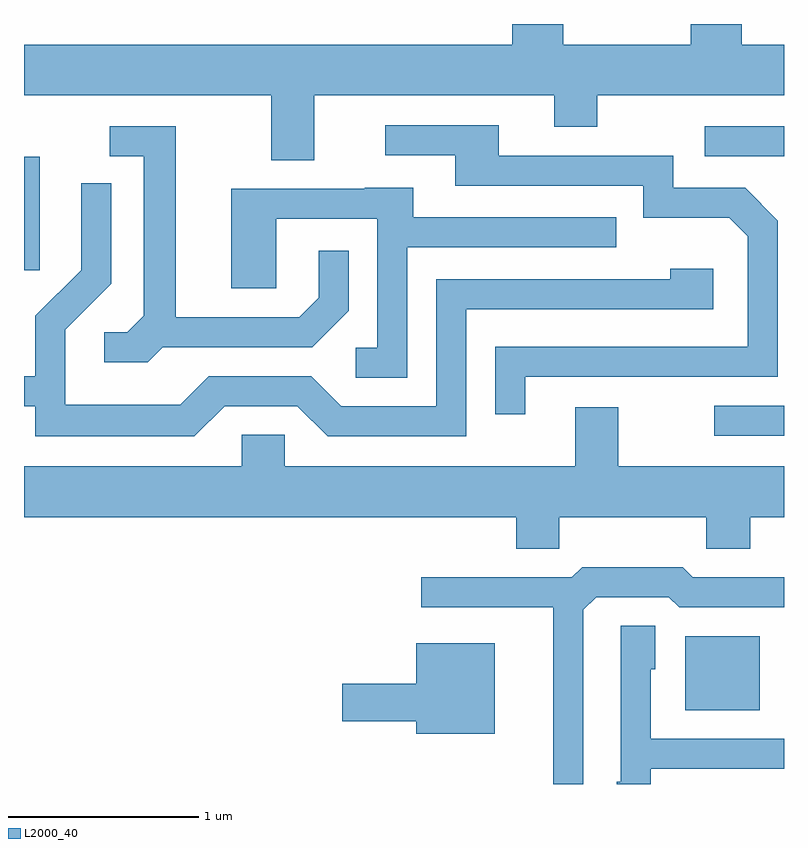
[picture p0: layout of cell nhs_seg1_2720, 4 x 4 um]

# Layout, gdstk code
import gdstk
lib = gdstk.Library(unit=1e-6, precision=1e-09)
def R(c, l, rs):  # rectangles x0, y0, x1, y1
    for r in rs: c.add(gdstk.rectangle(r[:2], r[2:], *l))
def P(c, l, *ps):  # polygons
    for p in ps: c.add(gdstk.Polygon(p, *l))
L2000_40 = (2000, 40)

nhs_seg1_2720 = lib.new_cell('nhs_seg1_2720')
R(nhs_seg1_2720, L2000_40, [(271.091,914.101,271.484,914.489), (271.243,915.546,271.611,915.704), (267.611,916.416,267.694,917.014), (271.193,917.016,271.611,917.174)])
P(nhs_seg1_2720, L2000_40, [(269.139,917.336),(270.401,917.336),(270.401,917.171),(270.629,917.171),(270.629,917.336),(271.611,917.336),(271.611,917.604),(271.389,917.604),(271.389,917.712),(271.121,917.712),(271.121,917.604),(270.449,917.604),(270.449,917.712),(270.181,917.712),(270.181,917.604),(267.611,917.604),(267.611,917.336),(268.911,917.336),(268.911,916.996),(269.139,916.996)],
  [(270.249,915.856),(271.579,915.856),(271.579,916.677),(271.407,916.849),(271.029,916.849),(271.029,917.019),(270.109,917.019),(270.109,917.179),(269.513,917.179),(269.513,917.021),(269.881,917.021),(269.881,916.861),(270.871,916.861),(270.871,916.691),(271.324,916.691),(271.421,916.594),(271.421,916.014),(270.091,916.014),(270.091,915.658),(270.249,915.658)],
  [(268.342,916.011),(269.127,916.011),(269.319,916.204),(269.319,916.518),(269.161,916.518),(269.161,916.272),(269.059,916.169),(268.409,916.169),(268.409,917.174),(268.063,917.174),(268.063,917.016),(268.241,917.016),(268.241,916.177),(268.154,916.089),(268.033,916.089),(268.033,915.931),(268.262,915.931)],
  [(268.667,915.701),(269.049,915.701),(269.209,915.541),(269.939,915.541),(269.939,916.211),(271.239,916.211),(271.239,916.424),(271.011,916.424),(271.011,916.369),(269.781,916.369),(269.781,915.699),(269.282,915.699),(269.122,915.859),(268.584,915.859),(268.434,915.709),(267.829,915.709),(267.829,916.104),(268.069,916.344),(268.069,916.873),(267.911,916.873),(267.911,916.417),(267.671,916.177),(267.671,915.859),(267.611,915.859),(267.611,915.701),(267.671,915.701),(267.671,915.541),(268.507,915.541)],
  [(269.629,916.536),(270.728,916.536),(270.728,916.694),(269.659,916.694),(269.659,916.849),(269.405,916.849),(269.405,916.844),(268.701,916.844),(268.701,916.321),(268.939,916.321),(268.939,916.686),(269.471,916.686),(269.471,916.009),(269.358,916.009),(269.358,915.851),(269.629,915.851)],
  [(270.429,915.116),(271.201,915.116),(271.201,914.951),(271.434,914.951),(271.434,915.116),(271.611,915.116),(271.611,915.384),(270.739,915.384),(270.739,915.694),(270.511,915.694),(270.511,915.384),(268.984,915.384),(268.984,915.549),(268.756,915.549),(268.756,915.384),(267.611,915.384),(267.611,915.116),(270.201,915.116),(270.201,914.951),(270.429,914.951)],
  [(270.554,914.629),(270.622,914.696),(271.004,914.696),(271.059,914.641),(271.611,914.641),(271.611,914.799),(271.132,914.799),(271.077,914.854),(270.549,914.854),(270.494,914.799),(269.703,914.799),(269.703,914.641),(270.396,914.641),(270.396,913.712),(270.554,913.712)],
  [(270.909,913.791),(271.611,913.791),(271.611,913.949),(270.909,913.949),(270.909,914.316),(270.934,914.316),(270.934,914.544),(270.751,914.544),(270.751,913.724),(270.731,913.724),(270.731,913.712),(270.909,913.712)],
  [(270.089,914.454),(269.676,914.454),(269.676,914.239),(269.286,914.239),(269.286,914.041),(269.676,914.041),(269.676,913.976),(270.089,913.976)])

lib.write_gds('nhs_seg1_2720.gds')
